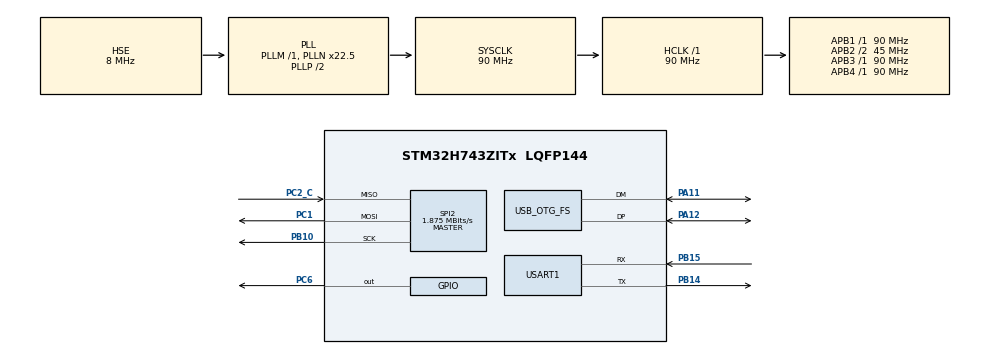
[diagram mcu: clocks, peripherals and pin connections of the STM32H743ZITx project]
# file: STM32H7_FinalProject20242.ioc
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CORTEX_M7.default_mode_Activation=1
Mcu.Family=STM32H7
Mcu.Name=STM32H743ZITx
Mcu.Package=LQFP144
NVIC.OTG_FS_IRQn=true\:0\:0\:false\:false\:true\:false\:true\:true
NVIC.PriorityGroup=NVIC_PRIORITYGROUP_4
PA11.Mode=Device_Only
PA11.Signal=USB_OTG_FS_DM
PA12.Mode=Device_Only
PA12.Signal=USB_OTG_FS_DP
PB10.Mode=Full_Duplex_Master
PB10.Signal=SPI2_SCK
PB14.Mode=Asynchronous
PB14.Signal=USART1_TX
PB15.Mode=Asynchronous
PB15.Signal=USART1_RX
PC1.Mode=Full_Duplex_Master
PC1.Signal=SPI2_MOSI
PC2_C.Mode=Full_Duplex_Master
PC2_C.Signal=SPI2_MISO
PC6.Signal=GPIO_Output
PH0-OSC_IN\ (PH0).Mode=HSE-External-Oscillator
PH0-OSC_IN\ (PH0).Signal=RCC_OSC_IN
PH1-OSC_OUT\ (PH1).Mode=HSE-External-Oscillator
PH1-OSC_OUT\ (PH1).Signal=RCC_OSC_OUT
ProjectManager.HeapSize=0x200
ProjectManager.StackSize=0x400
ProjectManager.TargetToolchain=STM32CubeIDE
RCC.ADCFreq_Value=16125000
RCC.APB1Freq_Value=90000000
RCC.APB2Freq_Value=45000000
RCC.APB3Freq_Value=90000000
RCC.APB4Freq_Value=90000000
RCC.CortexFreq_Value=90000000
RCC.D2PPRE2=RCC_APB2_DIV2
RCC.DIVM1=1
RCC.DIVN1=22
RCC.DIVQ1=3
RCC.HCLKFreq_Value=90000000
RCC.HSE_VALUE=8000000
RCC.PLL2FRACN=0
RCC.PLL3FRACN=0
RCC.PLLFRACN=4096
RCC.SYSCLKFreq_VALUE=90000000
RCC.SYSCLKSource=RCC_SYSCLKSOURCE_PLLCLK
RCC.USBFreq_Value=60000000
SPI2.BaudRatePrescaler=SPI_BAUDRATEPRESCALER_32
SPI2.CalculateBaudRate=1.875 MBits/s
SPI2.Direction=SPI_DIRECTION_2LINES
SPI2.Mode=SPI_MODE_MASTER
SPI2.VirtualType=VM_MASTER
USART1.VirtualMode-Asynchronous=VM_ASYNC
USB_DEVICE.CLASS_NAME_FS=MSC
USB_DEVICE.VirtualMode-MSC_FS=Msc
USB_DEVICE.VirtualModeFS=Msc_FS
USB_OTG_FS.VirtualMode=Device_Only
VP_FATFS_VS_Generic.Mode=User_defined
VP_MEMORYMAP_VS_MEMORYMAP.Mode=CurAppReg
VP_TIM6_VS_ClockSourceINT.Mode=Enable_Timer
VP_USB_DEVICE_VS_USB_DEVICE_MSC_FS.Mode=MSC_FS
board=custom

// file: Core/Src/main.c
/* USER CODE BEGIN Header */
/**
  ******************************************************************************
  * @file           : main.c
  * @brief          : Main program body
  ******************************************************************************
  * @attention
  *
  * Copyright (c) 2025 STMicroelectronics.
  * All rights reserved.
  *
  * This software is licensed under terms that can be found in the LICENSE file
  * in the root directory of this software component.
  * If no LICENSE file comes with this software, it is provided AS-IS.
  *
  ******************************************************************************
  */
/* USER CODE END Header */
#include "main.h"
#include "global.h"
#include "mmcsd.h"
#include "storage.h"
#include "fatfs.h"
#include "usb_device.h"

/* USER CODE BEGIN Includes */
uint32_t g_systemtick;
/* USER CODE END Includes */

SPI_HandleTypeDef hspi2;

TIM_HandleTypeDef htim6;

UART_HandleTypeDef huart1;

/* USER CODE BEGIN PV */
#define BUFFER_SIZE 512
uint8_t buffer[BUFFER_SIZE];
uint8_t sd_status = 0;
/* USER CODE END PV */

void SystemClock_Config(void);
static void MPU_Config(void);
static void MX_GPIO_Init(void);
static void MX_TIM6_Init(void);
static void MX_USART1_UART_Init(void);
static void MX_SPI2_Init(void);
/* USER CODE BEGIN PFP */
void test_sd_card(void);
void print_buffer(uint8_t* buffer, uint32_t len);
/* USER CODE END PFP */

/* USER CODE BEGIN 0 */
void test_sd_card(void)
{
    char debug_msg[100];
    uint32_t sector_count = 0;

    // Initialize SD card
    sd_status = USER_SPI_initialize(0);
    if(sd_status != 0)
    {
        sprintf(debug_msg, "SD Card init failed with status: %d\r\n", sd_status);
        HAL_UART_Transmit(&huart1, (uint8_t*)debug_msg, strlen(debug_msg), 100);
        return;
    }

    // Get card type
    uint8_t card_type = 0;
    USER_SPI_ioctl(0, MMC_GET_TYPE, &card_type);
    sprintf(debug_msg, "Card Type: %d\r\n", card_type);
    HAL_UART_Transmit(&huart1, (uint8_t*)debug_msg, strlen(debug_msg), 100);

    // Get sector count
    USER_SPI_ioctl(0, GET_SECTOR_COUNT, &sector_count);
    sprintf(debug_msg, "Total Sectors: %lu\r\n", sector_count);
    HAL_UART_Transmit(&huart1, (uint8_t*)debug_msg, strlen(debug_msg), 100);

    // Try to read first sector
    if(USER_SPI_read(0, buffer, 0, 1) == RES_OK)
    {
        sprintf(debug_msg, "Read first sector successful\r\n");
        HAL_UART_Transmit(&huart1, (uint8_t*)debug_msg, strlen(debug_msg), 100);
        print_buffer(buffer, 32); // Print first 32 bytes
    }
    else
    {
        sprintf(debug_msg, "Read first sector failed\r\n");
        HAL_UART_Transmit(&huart1, (uint8_t*)debug_msg, strlen(debug_msg), 100);
    }
}

void print_buffer(uint8_t* buffer, uint32_t len)
{
    char debug_msg[100];
    for(uint32_t i = 0; i < len; i++)
    {
        sprintf(debug_msg, "%02X ", buffer[i]);
        HAL_UART_Transmit(&huart1, (uint8_t*)debug_msg, strlen(debug_msg), 100);
        if((i + 1) % 16 == 0)
        {
            sprintf(debug_msg, "\r\n");
            HAL_UART_Transmit(&huart1, (uint8_t*)debug_msg, strlen(debug_msg), 100);
        }
    }
    sprintf(debug_msg, "\r\n");
    HAL_UART_Transmit(&huart1, (uint8_t*)debug_msg, strlen(debug_msg), 100);
}
/* USER CODE END 0 */

int main(void)
{

  /* MPU Configuration--------------------------------------------------------*/
  MPU_Config();

  /* MCU Configuration--------------------------------------------------------*/

  /* Reset of all peripherals, Initializes the Flash interface and the Systick. */
  HAL_Init();

  /* Configure the system clock */
  SystemClock_Config();

  /* Initialize all configured peripherals */
  MX_GPIO_Init();
  MX_TIM6_Init();
  MX_USART1_UART_Init();
  MX_FATFS_Init();
  MX_USB_DEVICE_Init();
  MX_SPI2_Init();
  /* USER CODE BEGIN 2 */

  // Test SD card
  test_sd_card();

  /* USER CODE END 2 */

  /* Infinite loop */
  while (1)
  {

  }
}

void SystemClock_Config(void)
{
  RCC_OscInitTypeDef RCC_OscInitStruct = {0};
  RCC_ClkInitTypeDef RCC_ClkInitStruct = {0};

  /** Supply configuration update enable
  */
  HAL_PWREx_ConfigSupply(PWR_LDO_SUPPLY);

  /** Configure the main internal regulator output voltage
  */
  __HAL_PWR_VOLTAGESCALING_CONFIG(PWR_REGULATOR_VOLTAGE_SCALE3);

  while(!__HAL_PWR_GET_FLAG(PWR_FLAG_VOSRDY)) {}

  /** Initializes the RCC Oscillators according to the specified parameters
  * in the RCC_OscInitTypeDef structure.
  */
  RCC_OscInitStruct.OscillatorType = RCC_OSCILLATORTYPE_HSE;
  RCC_OscInitStruct.HSEState = RCC_HSE_ON;
  RCC_OscInitStruct.PLL.PLLState = RCC_PLL_ON;
  RCC_OscInitStruct.PLL.PLLSource = RCC_PLLSOURCE_HSE;
  RCC_OscInitStruct.PLL.PLLM = 1;
  RCC_OscInitStruct.PLL.PLLN = 22;
  RCC_OscInitStruct.PLL.PLLP = 2;
  RCC_OscInitStruct.PLL.PLLQ = 3;
  RCC_OscInitStruct.PLL.PLLR = 2;
  RCC_OscInitStruct.PLL.PLLRGE = RCC_PLL1VCIRANGE_3;
  RCC_OscInitStruct.PLL.PLLVCOSEL = RCC_PLL1VCOMEDIUM;
  RCC_OscInitStruct.PLL.PLLFRACN = 4096;
  if (HAL_RCC_OscConfig(&RCC_OscInitStruct) != HAL_OK)
  {
    Error_Handler();
  }

  /** Initializes the CPU, AHB and APB buses clocks
  */
  RCC_ClkInitStruct.ClockType = RCC_CLOCKTYPE_HCLK|RCC_CLOCKTYPE_SYSCLK
                              |RCC_CLOCKTYPE_PCLK1|RCC_CLOCKTYPE_PCLK2
                              |RCC_CLOCKTYPE_D3PCLK1|RCC_CLOCKTYPE_D1PCLK1;
  RCC_ClkInitStruct.SYSCLKSource = RCC_SYSCLKSOURCE_PLLCLK;
  RCC_ClkInitStruct.SYSCLKDivider = RCC_SYSCLK_DIV1;
  RCC_ClkInitStruct.AHBCLKDivider = RCC_HCLK_DIV1;
  RCC_ClkInitStruct.APB3CLKDivider = RCC_APB3_DIV1;
  RCC_ClkInitStruct.APB1CLKDivider = RCC_APB1_DIV1;
  RCC_ClkInitStruct.APB2CLKDivider = RCC_APB2_DIV2;
  RCC_ClkInitStruct.APB4CLKDivider = RCC_APB4_DIV1;

  if (HAL_RCC_ClockConfig(&RCC_ClkInitStruct, FLASH_LATENCY_1) != HAL_OK)
  {
    Error_Handler();
  }
}

static void MX_SPI2_Init(void)
{

  /* SPI2 parameter configuration*/
  hspi2.Instance = SPI2;
  hspi2.Init.Mode = SPI_MODE_MASTER;
  hspi2.Init.Direction = SPI_DIRECTION_2LINES;
  hspi2.Init.DataSize = SPI_DATASIZE_4BIT;
  hspi2.Init.CLKPolarity = SPI_POLARITY_LOW;
  hspi2.Init.CLKPhase = SPI_PHASE_1EDGE;
  hspi2.Init.NSS = SPI_NSS_SOFT;
  hspi2.Init.BaudRatePrescaler = SPI_BAUDRATEPRESCALER_32;
  hspi2.Init.FirstBit = SPI_FIRSTBIT_MSB;
  hspi2.Init.TIMode = SPI_TIMODE_DISABLE;
  hspi2.Init.CRCCalculation = SPI_CRCCALCULATION_DISABLE;
  hspi2.Init.CRCPolynomial = 0x0;
  hspi2.Init.NSSPMode = SPI_NSS_PULSE_ENABLE;
  hspi2.Init.NSSPolarity = SPI_NSS_POLARITY_LOW;
  hspi2.Init.FifoThreshold = SPI_FIFO_THRESHOLD_01DATA;
  hspi2.Init.TxCRCInitializationPattern = SPI_CRC_INITIALIZATION_ALL_ZERO_PATTERN;
  hspi2.Init.RxCRCInitializationPattern = SPI_CRC_INITIALIZATION_ALL_ZERO_PATTERN;
  hspi2.Init.MasterSSIdleness = SPI_MASTER_SS_IDLENESS_00CYCLE;
  hspi2.Init.MasterInterDataIdleness = SPI_MASTER_INTERDATA_IDLENESS_00CYCLE;
  hspi2.Init.MasterReceiverAutoSusp = SPI_MASTER_RX_AUTOSUSP_DISABLE;
  hspi2.Init.MasterKeepIOState = SPI_MASTER_KEEP_IO_STATE_DISABLE;
  hspi2.Init.IOSwap = SPI_IO_SWAP_DISABLE;
  if (HAL_SPI_Init(&hspi2) != HAL_OK)
  {
    Error_Handler();
  }

}

static void MX_TIM6_Init(void)
{

  TIM_MasterConfigTypeDef sMasterConfig = {0};

  htim6.Instance = TIM6;
  htim6.Init.Prescaler = 0;
  htim6.Init.CounterMode = TIM_COUNTERMODE_UP;
  htim6.Init.Period = 65535;
  htim6.Init.AutoReloadPreload = TIM_AUTORELOAD_PRELOAD_DISABLE;
  if (HAL_TIM_Base_Init(&htim6) != HAL_OK)
  {
    Error_Handler();
  }
  sMasterConfig.MasterOutputTrigger = TIM_TRGO_RESET;
  sMasterConfig.MasterSlaveMode = TIM_MASTERSLAVEMODE_DISABLE;
  if (HAL_TIMEx_MasterConfigSynchronization(&htim6, &sMasterConfig) != HAL_OK)
  {
    Error_Handler();
  }

}

static void MX_USART1_UART_Init(void)
{

  huart1.Instance = USART1;
  huart1.Init.BaudRate = 115200;
  huart1.Init.WordLength = UART_WORDLENGTH_8B;
  huart1.Init.StopBits = UART_STOPBITS_1;
  huart1.Init.Parity = UART_PARITY_NONE;
  huart1.Init.Mode = UART_MODE_TX_RX;
  huart1.Init.HwFlowCtl = UART_HWCONTROL_NONE;
  huart1.Init.OverSampling = UART_OVERSAMPLING_16;
  huart1.Init.OneBitSampling = UART_ONE_BIT_SAMPLE_DISABLE;
  huart1.Init.ClockPrescaler = UART_PRESCALER_DIV1;
  huart1.AdvancedInit.AdvFeatureInit = UART_ADVFEATURE_NO_INIT;
  if (HAL_UART_Init(&huart1) != HAL_OK)
  {
    Error_Handler();
  }
  if (HAL_UARTEx_SetTxFifoThreshold(&huart1, UART_TXFIFO_THRESHOLD_1_8) != HAL_OK)
  {
    Error_Handler();
  }
  if (HAL_UARTEx_SetRxFifoThreshold(&huart1, UART_RXFIFO_THRESHOLD_1_8) != HAL_OK)
  {
    Error_Handler();
  }
  if (HAL_UARTEx_DisableFifoMode(&huart1) != HAL_OK)
  {
    Error_Handler();
  }

}

static void MX_GPIO_Init(void)
{
  GPIO_InitTypeDef GPIO_InitStruct = {0};

  /* GPIO Ports Clock Enable */
  __HAL_RCC_GPIOH_CLK_ENABLE();
  __HAL_RCC_GPIOC_CLK_ENABLE();
  __HAL_RCC_GPIOB_CLK_ENABLE();
  __HAL_RCC_GPIOA_CLK_ENABLE();

  /*Configure GPIO pin Output Level */
  HAL_GPIO_WritePin(GPIOC, GPIO_PIN_6, GPIO_PIN_RESET);

  /*Configure GPIO pin : PC6 */
  GPIO_InitStruct.Pin = GPIO_PIN_6;
  GPIO_InitStruct.Mode = GPIO_MODE_OUTPUT_PP;
  GPIO_InitStruct.Pull = GPIO_NOPULL;
  GPIO_InitStruct.Speed = GPIO_SPEED_FREQ_LOW;
  HAL_GPIO_Init(GPIOC, &GPIO_InitStruct);

}

 /* MPU Configuration */

void MPU_Config(void)
{
  MPU_Region_InitTypeDef MPU_InitStruct = {0};

  /* Disables the MPU */
  HAL_MPU_Disable();

  /** Initializes and configures the Region and the memory to be protected
  */
  MPU_InitStruct.Enable = MPU_REGION_ENABLE;
  MPU_InitStruct.Number = MPU_REGION_NUMBER0;
  MPU_InitStruct.BaseAddress = 0x0;
  MPU_InitStruct.Size = MPU_REGION_SIZE_4GB;
  MPU_InitStruct.SubRegionDisable = 0x87;
  MPU_InitStruct.TypeExtField = MPU_TEX_LEVEL0;
  MPU_InitStruct.AccessPermission = MPU_REGION_NO_ACCESS;
  MPU_InitStruct.DisableExec = MPU_INSTRUCTION_ACCESS_DISABLE;
  MPU_InitStruct.IsShareable = MPU_ACCESS_SHAREABLE;
  MPU_InitStruct.IsCacheable = MPU_ACCESS_NOT_CACHEABLE;
  MPU_InitStruct.IsBufferable = MPU_ACCESS_NOT_BUFFERABLE;

  HAL_MPU_ConfigRegion(&MPU_InitStruct);
  /* Enables the MPU */
  HAL_MPU_Enable(MPU_PRIVILEGED_DEFAULT);

}

void Error_Handler(void)
{
  __disable_irq();
  while (1)
  {
  }
}
